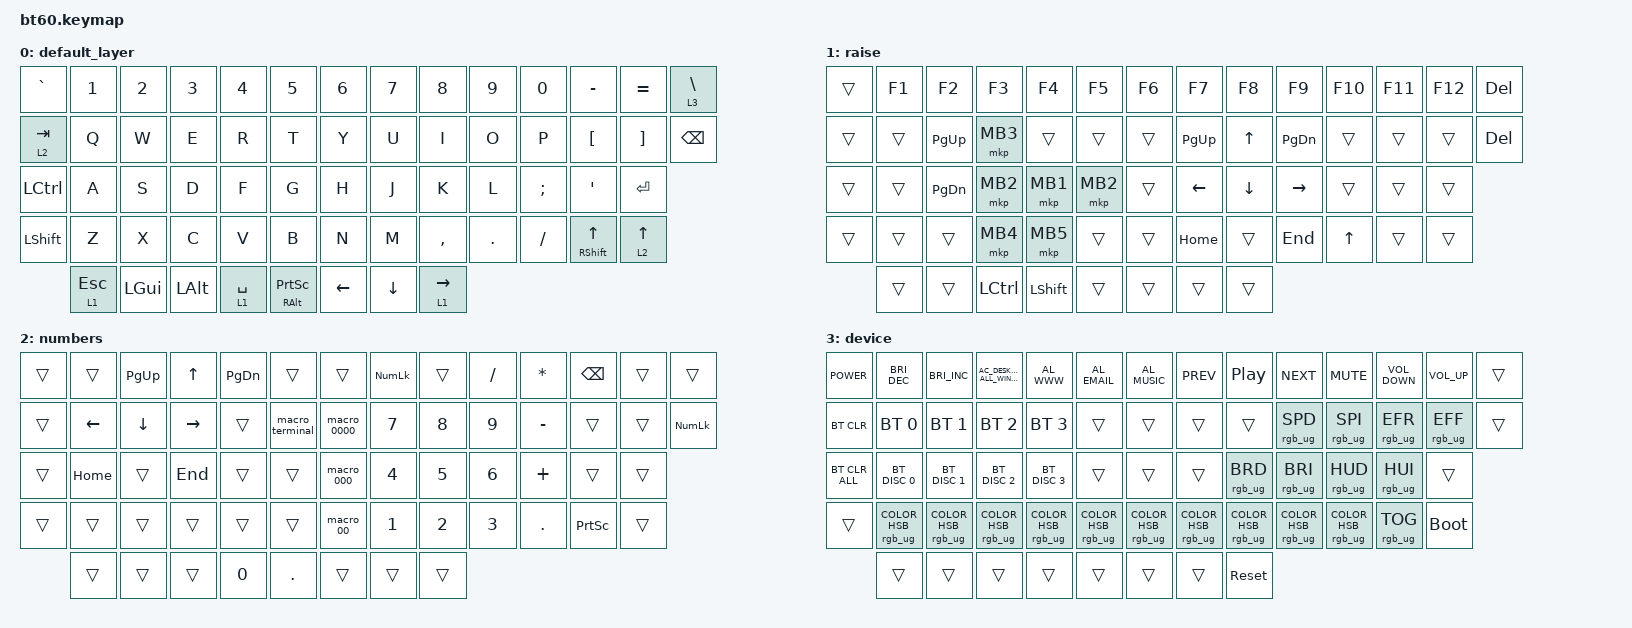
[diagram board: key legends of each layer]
#include <behaviors.dtsi>
#include <dt-bindings/zmk/bt.h>
#include <dt-bindings/zmk/keys.h>
#include <dt-bindings/zmk/mouse.h>
#include <dt-bindings/zmk/rgb.h>

/ {
    macros {
        macro_00: macro_00 {
            compatible = "zmk,behavior-macro";
            #binding-cells = <0>;
            bindings = <&kp N0 &kp N0>;
            label = "MACRO_00";
        };

        macro_000: macro_000 {
            compatible = "zmk,behavior-macro";
            #binding-cells = <0>;
            bindings = <&kp N0 &kp N0 &kp N0>;
            label = "MACRO_000";
        };

        macro_0000: macro_0000 {
            compatible = "zmk,behavior-macro";
            #binding-cells = <0>;
            bindings = <&kp N0 &kp N0 &kp N0 &kp N0>;
            label = "MACRO_0000";
        };

        macro_terminal: terminal {
            compatible = "zmk,behavior-macro";
            #binding-cells = <0>;
            bindings =
                <&kp LCTRL &kp LALT>,
                <&macro_press>,
                <&kp Q>,
                <&macro_tap>,
                <&kp LCTRL &kp LALT>,
                <&macro_release>;

            label = "TERMINAL";
        };
    };

    keymap {
        compatible = "zmk,keymap";

        default_layer {
            // ------------------------------------------------------------------------------------------
            // |  `  |  1  |  2  |  3  |  4  |  5  |  6  |  7  |  8  |  9  |  0  |  -  |  =  |   BKSP
            // | TAB  |  Q  |  W  |  E  |  R  |  T  |  Y  |  U  |  I  |  O  |  P  |  [  |  ]  |   |
            // | CAPS  |  A  |  S  |  D  |  F  |  G  |  H  |  J  |  K  |  L  |  ;  |  '  |     ENTER
            // |  SHIFT    |  Z  |  X  |  C  |  V  |  B  |  N  |  M  |  ,  |  .  | /   |      SHIFT
            // |  CTL  |  WIN  |  ALT  |            SPACE               | ALT | 1    |  MENU    |  CTRL
            // ------------------------------------------------------------------------------------------

            bindings = <
&kp GRAVE  &kp N1     &kp N2    &kp N3    &kp N4       &kp N5                     &kp N6    &kp N7    &kp N8       &kp N9   &kp N0    &kp MINUS           &kp EQUAL  &lt 3 BACKSLASH
&lt 2 TAB  &kp Q      &kp W     &kp E     &kp R        &kp T                      &kp Y     &kp U     &kp I        &kp O    &kp P     &kp LBKT            &kp RBKT   &kp BSPC
&kp LCTRL  &kp A      &kp S     &kp D     &kp F        &kp G                      &kp H     &kp J     &kp K        &kp L    &kp SEMI  &kp SQT             &kp RET
&kp LSHFT  &kp Z      &kp X     &kp C     &kp V        &kp B                      &kp N     &kp M     &kp COMMA    &kp DOT  &kp FSLH  &mt RIGHT_SHIFT UP  &lt 2 UP
           &lt 1 ESC  &kp LGUI  &kp LALT  &lt 1 SPACE  &mt RIGHT_ALT PRINTSCREEN  &kp LEFT  &kp DOWN  &lt 1 RIGHT
            >;
        };

        raise {
            bindings = <
&trans  &kp F1  &kp F2     &kp F3     &kp F4          &kp F5    &kp F6  &kp F7     &kp F8    &kp F9     &kp F10  &kp F11  &kp F12  &kp DEL
&trans  &trans  &kp PG_UP  &mkp MB3   &trans          &trans    &trans  &kp PG_UP  &kp UP    &kp PG_DN  &trans   &trans   &trans   &kp DEL
&trans  &trans  &kp PG_DN  &mkp MB2   &mkp MB1        &mkp MB2  &trans  &kp LEFT   &kp DOWN  &kp RIGHT  &trans   &trans   &trans
&trans  &trans  &trans     &mkp MB4   &mkp MB5        &trans    &trans  &kp HOME   &trans    &kp END    &kp UP   &trans   &trans
        &trans  &trans     &kp LCTRL  &kp LEFT_SHIFT  &trans    &trans  &trans     &trans
            >;
        };

        numbers {
            bindings = <
&trans  &trans    &kp PG_UP  &kp UP     &kp PG_DN  &trans           &trans       &kp KP_NUMLOCK  &trans  &kp SLASH  &kp ASTRK  &kp BACKSPACE    &trans  &trans
&trans  &kp LEFT  &kp DOWN   &kp RIGHT  &trans     &macro_terminal  &macro_0000  &kp N7          &kp N8  &kp N9     &kp MINUS  &trans           &trans  &kp KP_NUMLOCK
&trans  &kp HOME  &trans     &kp END    &trans     &trans           &macro_000   &kp N4          &kp N5  &kp N6     &kp PLUS   &trans           &trans
&trans  &trans    &trans     &trans     &trans     &trans           &macro_00    &kp N1          &kp N2  &kp N3     &kp DOT    &kp PRINTSCREEN  &trans
        &trans    &trans     &trans     &kp N0     &kp DOT          &trans       &trans          &trans
            >;
        };

        device {
            bindings = <
&kp K_POWER     &kp C_BRI_DEC                     &kp C_BRI_INC                     &kp C_AC_DESKTOP_SHOW_ALL_WINDOWS  &kp C_AL_WWW                      &kp C_AL_EMAIL                     &kp C_AL_MUSIC                     &kp C_PREV                         &kp C_PLAY_PAUSE                   &kp C_NEXT                         &kp C_MUTE                         &kp C_VOLUME_DOWN  &kp C_VOLUME_UP  &trans
&bt BT_CLR      &bt BT_SEL 0                      &bt BT_SEL 1                      &bt BT_SEL 2                       &bt BT_SEL 3                      &trans                             &trans                             &trans                             &trans                             &rgb_ug RGB_SPD                    &rgb_ug RGB_SPI                    &rgb_ug RGB_EFR    &rgb_ug RGB_EFF  &trans
&bt BT_CLR_ALL  &bt BT_DISC 0                     &bt BT_DISC 1                     &bt BT_DISC 2                      &bt BT_DISC 3                     &trans                             &trans                             &trans                             &rgb_ug RGB_BRD                    &rgb_ug RGB_BRI                    &rgb_ug RGB_HUD                    &rgb_ug RGB_HUI    &trans
&trans          &rgb_ug RGB_COLOR_HSB(33,100,34)  &rgb_ug RGB_COLOR_HSB(38,100,38)  &rgb_ug RGB_COLOR_HSB(65,100,28)   &rgb_ug RGB_COLOR_HSB(90,100,31)  &rgb_ug RGB_COLOR_HSB(128,100,31)  &rgb_ug RGB_COLOR_HSB(166,100,29)  &rgb_ug RGB_COLOR_HSB(204,100,30)  &rgb_ug RGB_COLOR_HSB(267,100,27)  &rgb_ug RGB_COLOR_HSB(278,100,30)  &rgb_ug RGB_COLOR_HSB(312,100,28)  &rgb_ug RGB_TOG    &bootloader
                &trans                            &trans                            &trans                             &trans                            &trans                             &trans                             &trans                             &sys_reset
            >;
        };
    };
};
